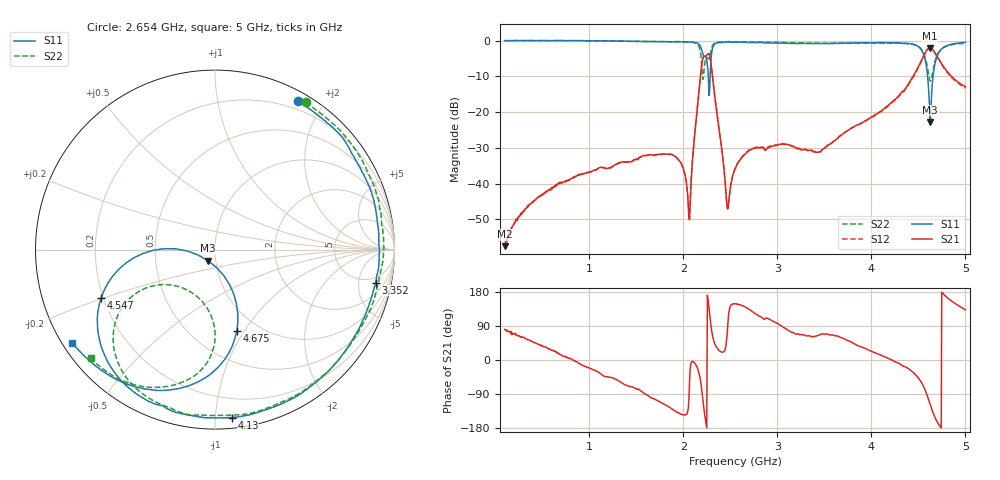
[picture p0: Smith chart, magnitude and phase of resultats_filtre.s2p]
! -._.-°-> CIME Nanotech <-°°-._.-
! Mon Jan 18 09:39:11 2021
! Freq[Hz]  S11[re]  S11[im]  S21[re]  S21[im]  S12[re]  S12[im]  S22[re]  S22[im]
#  HZ  S  RI  R  50.00
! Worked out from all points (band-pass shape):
!   801 points, 100 MHz to 5 GHz, reference 50 ohm
!   highest |S21| = -2.01 dB at 4.62 GHz (marker M1); lowest = -57.5 dB at 100 MHz (marker M2)
!   |S21| within 3 dB of the highest: 2.208 GHz to 2.288 GHz (80.36 MHz wide, 3.58 % of centre); 4.541 GHz to 4.714 GHz (172.2 MHz wide, 3.72 % of centre)
!   lowest |S11| = -22.7 dB at 4.626 GHz (marker M3), VSWR 1.16, Z = 45.8 - j5.63 ohm
!   |S11| at or under -10 dB: 2.265 GHz to 2.285 GHz (19.98 MHz wide, 0.878 % of centre); 4.598 GHz to 4.656 GHz (57.69 MHz wide, 1.25 % of centre)
!   |S22| runs from -11.3 to 0.1 dB; largest |S21 - S12| = 0.02
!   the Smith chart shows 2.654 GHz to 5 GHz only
!   S11 on the Smith chart (normalised r, x): 2.654 GHz: 0.10, +1.70; 3.352 GHz: 3.69, -8.21; 4.13 GHz: 0.07, -1.10; 4.547 GHz: 0.19, -0.20; 4.675 GHz: 0.80, -0.93; 5 GHz: 0.03, -0.30
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1e8  0.9865 -0.181  0.000211 0.00131  0.000283 0.0013  0.9876 -0.1772
9.2075e8  -0.189 -0.9821  0.0133 -0.00307  0.0131 -0.00307  -0.1426 -0.9917
1.3495e9  -0.878 -0.4615  0.00983 -0.0176  0.00962 -0.0174  -0.8518 -0.5025
1.735375e9  -0.906 0.3485  -0.00806 -0.0243  -0.00802 -0.0242  -0.9175 0.3298
1.962e9  -0.5959 0.7628  -0.0159 -0.013  -0.0159 -0.0129  -0.5787 0.7804
2.06e9  -0.3618 0.8883  -0.000733 -0.00324  -0.000692 -0.00336  -0.2807 0.9112
2.176375e9  0.1456 0.8516  0.1851 -0.1825  0.1849 -0.1877  0.5607 0.5058
2.213125e9  0.1938 0.5939  -0.2552 -0.5318  -0.265 -0.5256  -0.1786 -0.2467
2.256e9  0.3481 0.3105  -0.6311 0.1003  -0.6288 0.1042  -0.4106 0.4137
2.31725e9  -0.6583 0.5029  0.1439 0.2222  0.1415 0.2237  -0.5126 0.7214
2.46425e9  0.0199 0.9621  0.00245 0.00448  0.0021 0.00446  0.0722 0.9669
2.55e9  0.2523 0.9184  -0.0134 0.00843  -0.0139 0.00826  0.2858 0.9206
2.654125e9  0.4619 0.8286  -0.0199 0.0162  -0.0201 0.0164  0.5061 0.8214
3.352375e9  0.8951 -0.1836  0.0133 0.0262  0.0139 0.0259  0.8863 -0.2769
3.37075e9  0.8881 -0.2096  0.0138 0.025  0.0145 0.0251  0.8776 -0.3035
4.13025e9  0.0937 -0.9356  0.1091 0.0187  0.1066 0.0151  0.0764 -0.9224
4.185375e9  -0.00368 -0.9374  0.1261 0.00855  0.1233 0.00528  -0.00582 -0.9237
4.54675e9  -0.6342 -0.2688  0.2402 -0.5295  0.2319 -0.5158  -0.5617 -0.4325
4.62025e9  -0.0955 -0.0296  -0.3148 -0.7281  -0.3154 -0.7206  -0.1914 -0.2091
4.626375e9  -0.04 -0.0611  -0.3728 -0.7001  -0.3747 -0.6919  -0.1481 -0.228
4.675375e9  0.1216 -0.4532  -0.5973 -0.3315  -0.5961 -0.3167  -0.000501 -0.509
5e9  -0.7945 -0.5177  -0.1526 0.1684  -0.145 0.1617  -0.6935 -0.6056
